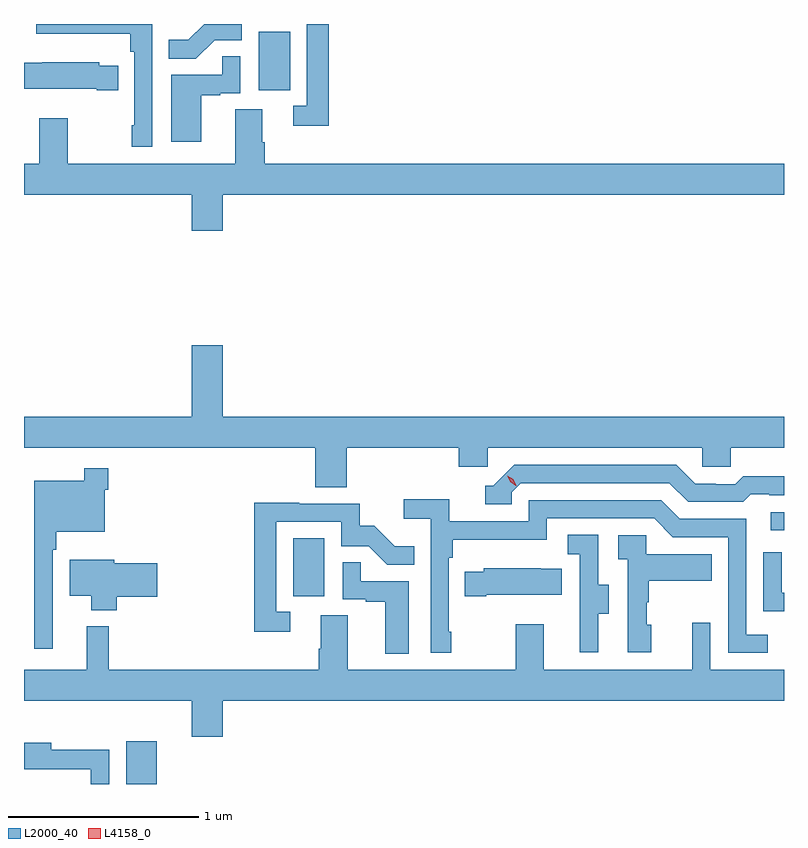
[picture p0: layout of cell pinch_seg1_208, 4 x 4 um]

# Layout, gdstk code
import gdstk
lib = gdstk.Library(unit=1e-6, precision=1e-09)
def R(c, l, rs):  # rectangles x0, y0, x1, y1
    for r in rs: c.add(gdstk.rectangle(r[:2], r[2:], *l))
def P(c, l, *ps):  # polygons
    for p in ps: c.add(gdstk.Polygon(p, *l))
L2000_40 = (2000, 40)
L4158_0 = (4158, 0)

pinch_seg1_208 = lib.new_cell('pinch_seg1_208')
R(pinch_seg1_208, L2000_40, [(955.871,579.267,956.032,579.493), (956.75,580.254,956.914,580.561), (959.265,580.602,959.334,580.698), (956.57,582.918,956.734,583.225)])
P(pinch_seg1_208, L2000_40, [(956.939,583.267),(956.823,583.267),(956.823,582.837),(956.751,582.837),(956.751,582.732),(956.939,582.732)],
  [(956.337,583.182),(956.481,583.182),(956.481,583.267),(956.283,583.267),(956.199,583.183),(956.095,583.183),(956.095,583.084),(956.239,583.084)],
  [(956.01,583.267),(955.398,583.267),(955.398,583.217),(955.894,583.217),(955.894,583.121),(955.914,583.121),(955.914,582.733),(955.902,582.733),(955.902,582.621),(956.01,582.621)],
  [(956.266,582.891),(956.366,582.891),(956.366,582.903),(956.472,582.903),(956.472,583.097),(956.377,583.097),(956.377,582.999),(956.108,582.999),(956.108,582.648),(956.266,582.648)],
  [(955.829,583.048),(955.731,583.048),(955.731,583.066),(955.429,583.066),(955.429,583.063),(955.334,583.063),(955.334,582.926),(955.718,582.926),(955.718,582.919),(955.829,582.919)],
  [(956.38,582.368),(959.334,582.368),(959.334,582.532),(956.6,582.532),(956.6,582.644),(956.587,582.644),(956.587,582.818),(956.447,582.818),(956.447,582.532),(955.563,582.532),(955.563,582.772),(955.415,582.772),(955.415,582.532),(955.334,582.532),(955.334,582.368),(956.216,582.368),(956.216,582.18),(956.38,582.18)],
  [(957.032,581.036),(957.623,581.036),(957.623,580.938),(957.774,580.938),(957.774,581.036),(958.905,581.036),(958.905,580.938),(959.055,580.938),(959.055,581.036),(959.334,581.036),(959.334,581.2),(956.38,581.2),(956.38,581.575),(956.216,581.575),(956.216,581.2),(955.334,581.2),(955.334,581.036),(956.867,581.036),(956.867,580.828),(957.032,580.828)],
  [(957.9,580.803),(957.948,580.851),(958.731,580.851),(958.83,580.752),(959.119,580.752),(959.158,580.791),(959.257,580.791),(959.257,580.788),(959.334,580.788),(959.334,580.888),(959.119,580.888),(959.077,580.845),(958.974,580.845),(958.974,580.848),(958.867,580.848),(958.768,580.947),(957.915,580.947),(957.804,580.836),(957.761,580.836),(957.761,580.74),(957.9,580.74)],
  [(955.485,580.499),(955.505,580.499),(955.505,580.595),(955.758,580.595),(955.758,580.817),(955.778,580.817),(955.778,580.93),(955.65,580.93),(955.65,580.864),(955.388,580.864),(955.388,579.978),(955.485,579.978)],
  [(957.583,580.069),(957.57,580.069),(957.57,580.457),(957.59,580.457),(957.59,580.553),(958.086,580.553),(958.086,580.665),(958.65,580.665),(958.749,580.566),(959.04,580.566),(959.04,579.957),(959.249,579.957),(959.249,580.053),(959.136,580.053),(959.136,580.662),(958.786,580.662),(958.687,580.761),(957.99,580.761),(957.99,580.65),(957.572,580.65),(957.572,580.766),(957.333,580.766),(957.333,580.664),(957.474,580.664),(957.474,579.957),(957.583,579.957)],
  [(956.734,580.173),(956.661,580.173),(956.661,580.647),(957.003,580.647),(957.003,580.518),(957.148,580.518),(957.246,580.42),(957.389,580.42),(957.389,580.519),(957.285,580.519),(957.178,580.626),(957.102,580.626),(957.102,580.743),(956.783,580.743),(956.783,580.748),(956.545,580.748),(956.545,580.068),(956.734,580.068)],
  [(958.357,580.162),(958.411,580.162),(958.411,580.317),(958.356,580.317),(958.356,580.58),(958.197,580.58),(958.197,580.477),(958.26,580.477),(958.26,580.173),(958.259,580.173),(958.259,579.96),(958.357,579.96)],
  [(958.636,580.104),(958.611,580.104),(958.611,580.223),(958.621,580.223),(958.621,580.337),(958.955,580.337),(958.955,580.477),(958.608,580.477),(958.608,580.575),(958.461,580.575),(958.461,580.451),(958.512,580.451),(958.512,579.96),(958.636,579.96)],
  [(959.334,580.274),(959.322,580.274),(959.322,580.486),(959.226,580.486),(959.226,580.176),(959.334,580.176)],
  [(955.823,580.252),(956.035,580.252),(956.035,580.43),(955.81,580.43),(955.81,580.447),(955.574,580.447),(955.574,580.259),(955.688,580.259),(955.688,580.181),(955.823,580.181)],
  [(957.358,580.335),(957.107,580.335),(957.107,580.433),(957.012,580.433),(957.012,580.239),(957.133,580.239),(957.133,580.227),(957.236,580.227),(957.236,579.953),(957.358,579.953)],
  [(957.766,580.262),(958.163,580.262),(958.163,580.399),(958.055,580.399),(958.055,580.402),(957.753,580.402),(957.753,580.384),(957.655,580.384),(957.655,580.255),(957.766,580.255)],
  [(956.38,579.704),(959.334,579.704),(959.334,579.868),(958.947,579.868),(958.947,580.117),(958.85,580.117),(958.85,579.868),(958.069,579.868),(958.069,580.108),(957.922,580.108),(957.922,579.868),(957.037,579.868),(957.037,580.154),(956.897,580.154),(956.897,579.98),(956.885,579.98),(956.885,579.868),(955.781,579.868),(955.781,580.096),(955.664,580.096),(955.664,579.868),(955.334,579.868),(955.334,579.704),(956.216,579.704),(956.216,579.516),(956.38,579.516)],
  [(955.782,579.446),(955.477,579.446),(955.477,579.484),(955.334,579.484),(955.334,579.344),(955.373,579.344),(955.373,579.345),(955.686,579.345),(955.686,579.267),(955.782,579.267)])
P(pinch_seg1_208, L4158_0, [(957.923,580.837),(957.893,580.857),(957.878,580.89),(957.878,580.89),(957.878,580.89),(957.908,580.87),(957.924,580.837),(957.924,580.837)])

lib.write_gds('pinch_seg1_208.gds')
